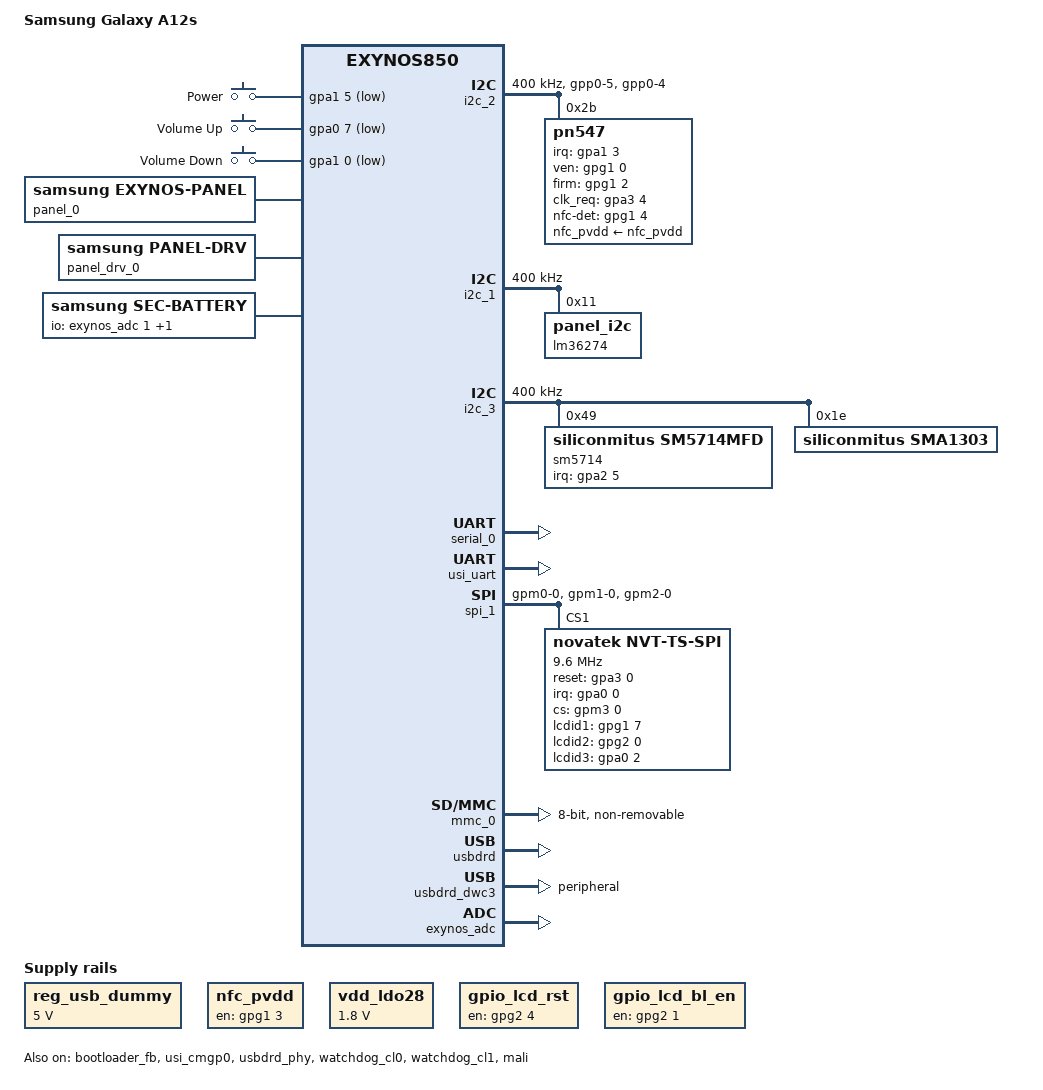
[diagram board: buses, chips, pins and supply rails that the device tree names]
// SPDX-License-Identifier: GPL-2.0
/*
 * Samsung Galaxy A12s (SM-A127F), Exynos 850 / 3830
 *
 * Board-specific PMIC, camera, modem, and unported peripheral nodes must come
 * from the stock A12s DTBO only after each compatible binding is confirmed
 * for this 6.12 tree.
 */

/dts-v1/;

#include "exynos850.dtsi"
#include <dt-bindings/gpio/gpio.h>
#include <dt-bindings/input/input.h>
#include "exynos-pinctrl.h"

/ {
	model = "Samsung Galaxy A12s";
	compatible = "samsung,a127f", "samsung,a12s", "samsung,exynos850";

	aliases {
		mmc0 = &mmc_0;
		serial0 = &serial_0;
		decon = &decon_0;
		dsim = &dsim_0;
		dpp0 = &dpp_0;
		dpp1 = &dpp_1;
		dpp2 = &dpp_2;
		dpp3 = &dpp_3;
		panel0 = &panel_0;
		panel_drv0 = &panel_drv_0;
	};

	chosen {
		stdout-path = &serial_0;
		bootargs = "console=ttyS0,115200n8 rootwait lcdtype=0xaa240";
	};

	reg_usb_dummy: regulator-usb-dummy {
		compatible = "regulator-fixed";
		regulator-name = "usb_dummy";
		regulator-min-microvolt = <5000000>;
		regulator-max-microvolt = <5000000>;
	};

	nfc_pvdd: regulator-nfc-pvdd {
		compatible = "regulator-fixed";
		regulator-name = "nfc_pvdd";
		gpio = <&gpg1 3 GPIO_ACTIVE_HIGH>;
		enable-active-high;
		pinctrl-names = "default";
		pinctrl-0 = <&nfc_pvdd_pins>;
	};

	/* S2MPU12 LDO28 stays enabled by the bootloader at 1.8 V. */
	vdd_ldo28: regulator-ldo28 {
		compatible = "regulator-fixed";
		regulator-name = "vdd_ldo28";
		regulator-min-microvolt = <1800000>;
		regulator-max-microvolt = <1800000>;
		regulator-boot-on;
		regulator-always-on;
	};

	lcd_fixed_regulator {
		compatible = "simple-bus";

		gpio_lcd_rst: lcd-rst {
			compatible = "regulator-fixed";
			regulator-name = "gpio_lcd_rst";
			gpio = <&gpg2 4 GPIO_ACTIVE_HIGH>;
			enable-active-high;
			regulator-boot-on;
		};

		gpio_lcd_bl_en: lcd-bl-en {
			compatible = "regulator-fixed";
			regulator-name = "gpio_lcd_bl_en";
			gpio = <&gpg2 1 GPIO_ACTIVE_HIGH>;
			enable-active-high;
			regulator-boot-on;
		};
	};

	/* Two 2 GiB ranges from the Android 13 S5E3830 device tree.
	 * The secure/bootloader reserved regions are not modeled here yet.
	 */
	memory@80000000 {
		device_type = "memory";
		reg = <0x0 0x80000000 0x80000000>,
		      <0x8 0x80000000 0x80000000>;
	};

	mali: mali@11500000 {
		compatible = "arm,mali-bifrost", "arm,mali";
		reg = <0x0 0x11500000 0x5000>;
		interrupts = <GIC_SPI 126 IRQ_TYPE_LEVEL_HIGH>,
			     <GIC_SPI 127 IRQ_TYPE_LEVEL_HIGH>,
			     <GIC_SPI 125 IRQ_TYPE_LEVEL_HIGH>;
		interrupt-names = "JOB", "MMU", "GPU";
		governor = "interactive";
		gpu_dvfs_table_size = <0x06 0x07>;
		gpu_dvfs_table = <0xf4628 0x5f 0x64 0x01 0x177bb8 0x1e8c50 0x00
				  0xd32e8 0x50 0x5a 0x01 0x177bb8 0x1e8c50 0x00
				  0xb8150 0x50 0x5a 0x01 0x14a140 0x163780 0x00
				  0x91ff0 0x46 0x5a 0x01 0xf78f0 0x101148 0x00
				  0x69b68 0x3c 0x50 0x01 0xce4c8 0xc4c70 0x00
				  0x5c0a8 0x00 0x46 0x01 0xa50a0 0x9eb10 0x00>;
		gpu_max_clock = <0xf4628>;
		gpu_max_clock_limit = <0xf4628>;
		gpu_min_clock = <0x5c0a8>;
		gpu_dvfs_start_clock = <0x5c0a8>;
		gpu_dvfs_bl_config_clock = <0x5c0a8>;
		gpu_dvfs_time_interval = <0x05>;
		gpu_dvfs_polling_time = <0x1e>;
		gpu_tmu_control = <0x01>;
		gpu_bts_support = <0x01>;
		status = "okay";
	};

	gpio-keys {
		compatible = "gpio-keys";
		autorepeat;

		key-power {
			label = "Power";
			gpios = <&gpa1 5 GPIO_ACTIVE_LOW>;
			linux,code = <KEY_POWER>;
			wakeup-source;
		};

		key-volume-up {
			label = "Volume Up";
			gpios = <&gpa0 7 GPIO_ACTIVE_LOW>;
			linux,code = <KEY_VOLUMEUP>;
		};

		key-volume-down {
			label = "Volume Down";
			gpios = <&gpa1 0 GPIO_ACTIVE_LOW>;
			linux,code = <KEY_VOLUMEDOWN>;
		};
	};

	panel_0: panel_0 {
		compatible = "samsung,exynos-panel";
		lcd_info = <&nt36525b_ctc>;
	};

	panel_drv_0: panel_drv@0 {
		compatible = "samsung,panel-drv";
		status = "okay";
		ddi-info = <&nt36525b_ctc>;
		#address-cells = <2>;
		#size-cells = <1>;
		ranges;
		pinctrl-names = "default";
		pinctrl-0 = <&disp_rst_ctrl &disp_blen_ctrl &disp_lcd_id>;

		regulators {
			gpio_lcd_bl_en {
				regulator = <&gpio_lcd_bl_en>;
			};
		};

		panel-lookup {
			panel-id-addr = <0xda 0xdb 0xdc>;
			panel-id-len = <0x01 0x01 0x01>;
			panel-name = "nt36525b_ctc_a12s_default";
			panel-ddi-info = <&nt36525b_ctc>;
			panel-lut = <0xaa240 0xffffff 0x00 0x00>;
		};
	};

	decon_board_nt36525b: decon_board_nt36525b {
		panel_boot_enable {
			type = "regulator,enable", "vdd_ldo28", "regulator,enable", "gpio_lcd_rst", "regulator,enable", "gpio_lcd_bl_en";
		};

		panel_power_enable {
			type = "regulator,enable", "vdd_ldo28", "delay,usleep", "1000", "regulator,enable", "gpio_lcd_bl_en", "delay,usleep", "1000";
		};

		panel_power_disable {
			type = "delay,usleep", "3000", "regulator,disable", "gpio_lcd_bl_en", "delay,usleep", "5000", "regulator,disable", "vdd_ldo28", "delay,msleep", "30";
		};

		panel_reset {
			type = "delay,usleep", "10000", "regulator,enable", "gpio_lcd_rst", "delay,usleep", "1000", "regulator,disable", "gpio_lcd_rst", "delay,usleep", "3500", "regulator,enable", "gpio_lcd_rst", "delay,usleep", "10000";
		};

		panel_reset_disable {
			type = "delay,msleep", "60", "regulator,disable", "gpio_lcd_rst", "delay,usleep", "5000";
		};

		panel_not_connected {
			type = "regulator,disable", "vdd_ldo28", "regulator,disable", "gpio_lcd_rst", "regulator,disable", "gpio_lcd_bl_en";
		};
	};

	nt36525b_ctc: nt36525b_ctc {
		id = <0xaa240>;
		decon_board = <&decon_board_nt36525b>;
		mode = <0x00>;
		resolution = <0x2d0 0x640>;
		size = <0x44 0x97>;
		timing,refresh = <0x3c>;
		timing,h-porch = <0x6e 0x46 0x1c>;
		timing,v-porch = <0xfc 0x08 0x02>;
		timing,dsi-hs-clk = <0x33e>;
		timing,pmsk = <0x02 0xff 0x02 0x6276 0x00 0x00 0x00 0x00
			       0x00 0x00 0x00 0x00 0x00 0x00>;
		timing,dsi-escape-clk = <0x14>;
		type_of_ddi = <0x00>;
		dsc_en = <0x00>;
		dsc_cnt = <0x00>;
		dsc_slice_num = <0x00>;
		dsc_slice_h = <0x00>;
		data_lane = <0x03>;
		mres_en = <0x00>;
		active_fps = <0x3c>;
		default_mode = <0x00>;
		display_mode = <0x2d0 0x640 0x3c 0x00 0x00 0x00 0x00 0x08>;
		hdr_num = <0x00>;
		hdr_type = <0x02 0x00 0x00 0x00>;
		hdr_max_luma = <0x5265c0>;
		hdr_max_avg_luma = <0x124f80>;
		hdr_min_luma = <0x05>;
	};

};

&bootloader_fb {
	reg = <0x00 0xfa000000 0xd00000>;
	status = "okay";
};

&pinctrl_alive {
	decon_te_on: decon-te-on {
		samsung,pins = "gpa4-1";
		samsung,pin-function = <EXYNOS_PIN_FUNC_EINT>;
	};

	decon_te_off: decon-te-off {
		samsung,pins = "gpa4-1";
		samsung,pin-function = <EXYNOS_PIN_FUNC_INPUT>;
	};

	tsp_irq_on: tsp-irq-on {
		samsung,pins = "gpa0-0";
		samsung,pin-function = <EXYNOS_PIN_FUNC_EINT>;
		samsung,pin-pud = <EXYNOS_PIN_PULL_NONE>;
		samsung,pin-drv = <EXYNOS5420_PIN_DRV_LV1>;
	};

	tsp_irq_off: tsp-irq-off {
		samsung,pins = "gpa0-0";
		samsung,pin-function = <EXYNOS_PIN_FUNC_INPUT>;
		samsung,pin-pud = <EXYNOS_PIN_PULL_DOWN>;
	};

	tsp_rst_on: tsp-rst-on {
		samsung,pins = "gpa3-0";
		samsung,pin-function = <EXYNOS_PIN_FUNC_OUTPUT>;
		samsung,pin-val = <1>;
		samsung,pin-pud = <EXYNOS_PIN_PULL_NONE>;
	};

	tsp_rst_off: tsp-rst-off {
		samsung,pins = "gpa3-0";
		samsung,pin-function = <EXYNOS_PIN_FUNC_INPUT>;
		samsung,pin-pud = <EXYNOS_PIN_PULL_DOWN>;
	};

	tsp_id3_on: tsp-id3-on {
		samsung,pins = "gpa0-2";
		samsung,pin-function = <EXYNOS_PIN_FUNC_INPUT>;
		samsung,pin-pud = <EXYNOS_PIN_PULL_NONE>;
	};

	tsp_id3_off: tsp-id3-off {
		samsung,pins = "gpa0-2";
		samsung,pin-function = <EXYNOS_PIN_FUNC_INPUT>;
		samsung,pin-pud = <EXYNOS_PIN_PULL_DOWN>;
	};

	nfc_xclkout: nfc-xclkout {
		samsung,pins = "gpq0-2";
		samsung,pin-function = <EXYNOS_PIN_FUNC_2>;
		samsung,pin-pud = <EXYNOS_PIN_PULL_NONE>;
	};

	nfc_xclkout_nc: nfc-xclkout-nc {
		samsung,pins = "gpq0-2";
		samsung,pin-function = <EXYNOS_PIN_FUNC_INPUT>;
		samsung,pin-pud = <EXYNOS_PIN_PULL_DOWN>;
	};

	nfc_clk_req: nfc-clk-req {
		samsung,pins = "gpa3-4";
		samsung,pin-function = <EXYNOS_PIN_FUNC_2>;
		samsung,pin-pud = <EXYNOS_PIN_PULL_DOWN>;
	};

	nfc_clk_req_nc: nfc-clk-req-nc {
		samsung,pins = "gpa3-4";
		samsung,pin-function = <EXYNOS_PIN_FUNC_INPUT>;
		samsung,pin-pud = <EXYNOS_PIN_PULL_DOWN>;
	};
};

&pinctrl_cmgp {
	spi1_bus_pins: spi1-bus-pins {
		samsung,pins = "gpm0-0", "gpm1-0", "gpm2-0";
		samsung,pin-function = <EXYNOS_PIN_FUNC_2>;
		samsung,pin-pud = <EXYNOS_PIN_PULL_NONE>;
		samsung,pin-drv = <EXYNOS5420_PIN_DRV_LV1>;
	};

	spi1_cs_pins: spi1-cs-pins {
		samsung,pins = "gpm3-0";
		samsung,pin-function = <EXYNOS_PIN_FUNC_OUTPUT>;
		samsung,pin-val = <1>;
		samsung,pin-pud = <EXYNOS_PIN_PULL_NONE>;
		samsung,pin-drv = <EXYNOS5420_PIN_DRV_LV1>;
	};
};

&pinctrl_peri {
	disp_rst_ctrl: disp-rst-ctrl {
		samsung,pins = "gpg2-4";
		samsung,pin-con-pdn = <EXYNOS_PIN_PDN_PREV>;
		samsung,pin-pud-pdn = <EXYNOS_PIN_PULL_NONE>;
	};

	disp_blen_ctrl: disp-blen-ctrl {
		samsung,pins = "gpg2-1";
		samsung,pin-con-pdn = <EXYNOS_PIN_PDN_PREV>;
		samsung,pin-pud-pdn = <EXYNOS_PIN_PULL_NONE>;
	};

	disp_lcd_id: disp-lcd-id {
		samsung,pins = "gpg1-7", "gpg2-0";
		samsung,pin-con-pdn = <EXYNOS_PIN_PDN_INPUT>;
		samsung,pin-pud-pdn = <EXYNOS_PIN_PULL_NONE>;
	};

	tsp_id_on: tsp-id-on {
		samsung,pins = "gpg1-7", "gpg2-0";
		samsung,pin-function = <EXYNOS_PIN_FUNC_INPUT>;
		samsung,pin-pud = <EXYNOS_PIN_PULL_NONE>;
	};

	tsp_id_off: tsp-id-off {
		samsung,pins = "gpg1-7", "gpg2-0";
		samsung,pin-function = <EXYNOS_PIN_FUNC_INPUT>;
		samsung,pin-pud = <EXYNOS_PIN_PULL_DOWN>;
	};

	nfc_i2c_pins: nfc-i2c-pins {
		samsung,pins = "gpp0-5", "gpp0-4";
		samsung,pin-function = <EXYNOS_PIN_FUNC_2>;
		samsung,pin-pud = <EXYNOS_PIN_PULL_NONE>;
		samsung,pin-drv = <EXYNOS5420_PIN_DRV_LV1>;
		samsung,pin-con-pdn = <EXYNOS_PIN_PDN_PREV>;
	};

	nfc_pvdd_pins: nfc-pvdd-pins {
		samsung,pins = "gpg1-3";
		samsung,pin-function = <EXYNOS_PIN_FUNC_OUTPUT>;
		samsung,pin-pud = <EXYNOS_PIN_PULL_NONE>;
		samsung,pin-con-pdn = <EXYNOS_PIN_PDN_PREV>;
		samsung,pin-pud-pdn = <EXYNOS_PIN_PULL_NONE>;
	};

	nfc_en: nfc-en {
		samsung,pins = "gpg1-0";
		samsung,pin-function = <EXYNOS_PIN_FUNC_OUTPUT>;
		samsung,pin-pud = <EXYNOS_PIN_PULL_NONE>;
		samsung,pin-drv = <EXYNOS5420_PIN_DRV_LV1>;
		samsung,pin-con-pdn = <EXYNOS_PIN_PDN_PREV>;
		samsung,pin-pud-pdn = <EXYNOS_PIN_PULL_NONE>;
	};

	nfc_en_nc: nfc-en-nc {
		samsung,pins = "gpg1-0";
		samsung,pin-function = <EXYNOS_PIN_FUNC_INPUT>;
		samsung,pin-pud = <EXYNOS_PIN_PULL_DOWN>;
		samsung,pin-con-pdn = <EXYNOS_PIN_PDN_INPUT>;
		samsung,pin-pud-pdn = <EXYNOS_PIN_PULL_DOWN>;
	};

	nfc_firm: nfc-firm {
		samsung,pins = "gpg1-2";
		samsung,pin-function = <EXYNOS_PIN_FUNC_OUTPUT>;
		samsung,pin-pud = <EXYNOS_PIN_PULL_NONE>;
		samsung,pin-val = <0>;
		samsung,pin-con-pdn = <EXYNOS_PIN_PDN_PREV>;
		samsung,pin-pud-pdn = <EXYNOS_PIN_PULL_NONE>;
	};

	nfc_firm_nc: nfc-firm-nc {
		samsung,pins = "gpg1-2";
		samsung,pin-function = <EXYNOS_PIN_FUNC_INPUT>;
		samsung,pin-pud = <EXYNOS_PIN_PULL_DOWN>;
		samsung,pin-con-pdn = <EXYNOS_PIN_PDN_INPUT>;
		samsung,pin-pud-pdn = <EXYNOS_PIN_PULL_DOWN>;
	};

	nfc_check: nfc-check {
		samsung,pins = "gpg1-4";
		samsung,pin-function = <EXYNOS_PIN_FUNC_INPUT>;
		samsung,pin-pud = <EXYNOS_PIN_PULL_NONE>;
		samsung,pin-drv = <EXYNOS5420_PIN_DRV_LV2>;
		samsung,pin-con-pdn = <EXYNOS_PIN_PDN_INPUT>;
		samsung,pin-pud-pdn = <EXYNOS_PIN_PULL_NONE>;
	};

	sm5714_irq_pins: sm5714-irq-pins {
		samsung,pins = "gpa2-5";
		samsung,pin-function = <EXYNOS_PIN_FUNC_INPUT>;
		samsung,pin-pud = <EXYNOS_PIN_PULL_NONE>;
		samsung,pin-con-pdn = <EXYNOS_PIN_PDN_INPUT>;
		samsung,pin-pud-pdn = <EXYNOS_PIN_PULL_NONE>;
	};
};

&oscclk {
	clock-frequency = <26000000>;
};

&i2c_2 {
	status = "okay";
	clock-frequency = <400000>;
	pinctrl-names = "default";
	pinctrl-0 = <&nfc_i2c_pins>;

	pn547@2b {
		compatible = "pn547";
		reg = <0x2b>;
		pn547,irq-gpio = <&gpa1 3 GPIO_ACTIVE_HIGH>;
		pn547,ven-gpio = <&gpg1 0 GPIO_ACTIVE_HIGH>;
		pn547,firm-gpio = <&gpg1 2 GPIO_ACTIVE_HIGH>;
		pn547,clk_req-gpio = <&gpa3 4 GPIO_ACTIVE_HIGH>;
		pn547,ap_vendor = "slsi";
		pn547,nfc-det-gpio = <&gpg1 4 GPIO_ACTIVE_HIGH>;
		pn547,ldo_control;
		nfc_pvdd-supply = <&nfc_pvdd>;
		pn547,irq_all_trigger;
		clocks = <&cmu_top CLK_OSC_NFC>;
		clock-names = "oscclk_nfc";
		pinctrl-names = "default", "nfc_nc";
		pinctrl-0 = <&nfc_en &nfc_firm &nfc_xclkout &nfc_clk_req &nfc_check>;
		pinctrl-1 = <&nfc_en_nc &nfc_firm_nc &nfc_xclkout_nc &nfc_clk_req_nc>;
	};
};

&i2c_1 {
	status = "okay";
	clock-frequency = <400000>;

	lm36274@11 {
		compatible = "panel_i2c";
		reg = <0x11>;
	};
};

&i2c_3 {
	status = "okay";
	clock-frequency = <400000>;
	pinctrl-names = "default";
	pinctrl-0 = <&i2c3_pins>;

	sm5714@49 {
		compatible = "siliconmitus,sm5714mfd";
		reg = <0x49>;
		pinctrl-names = "default";
		pinctrl-0 = <&sm5714_irq_pins>;
		sm5714,irq-gpio = <&gpa2 5 GPIO_ACTIVE_HIGH>;
		sm5714,wakeup;

		sm5714-fuelgauge {
			status = "okay";
			fuelgauge,fuel_alert_soc = <0x01>;
			fuelgauge,capacity_max = <0x3e8>;
			fuelgauge,capacity_max_margin = <0x12c>;
			fuelgauge,capacity_min = <0x00>;
			fuelgauge,capacity_calculation_type = <0x1f>;
			fuelgauge,using_temp_compensation;
			fuelgauge,low_temp_limit = <0x64>;
			fuelgauge,using_hw_vempty;
			fuelgauge,sw_v_empty_voltage = <0xc80>;
			fuelgauge,sw_v_empty_voltage_cisd = <0xc1c>;
			fuelgauge,sw_v_empty_recover_voltage = <0xd98>;
			fuelgauge,capacity = <0x1388>;

			battery_params {
				battery,id = <0x00>;
				battery0,battery_type = <0x1130 0x2406>;
				battery0,battery_table0 = <0x1400 0x1b49 0x1c6e 0x1d41 0x1d71 0x1d80 0x1d94 0x1dda 0x1e17 0x1e3b 0x1e53 0x1e71 0x1e97 0x1ee7 0x1f14 0x1f58 0x1fb5 0x1fec 0x2025 0x2095 0x20e3 0x2122 0x2226 0x2400>;
				battery0,battery_table1 = <0x00 0x99 0x24c 0x480 0x599 0x74c 0xccc 0x1266 0x1ab3 0x204c 0x25cc 0x2b66 0x30e6 0x3933 0x3c00 0x3ecc 0x4466 0x49e6 0x4cb3 0x4f80 0x5500 0x57cc 0x6400 0x6419>;
				battery0,battery_table2 = <0x4b4b 0x4444 0x4040 0x3e3e 0x3c3c 0x3b3b 0x3838 0x3737 0x3535 0x3434 0x3434 0x3333 0x3333 0x3333 0x3333 0x3232>;
				battery0,rs_value = <0x48 0x48 0x3800 0x10a 0x599 0x599 0x50>;
				battery0,v_alarm = <0xc1c 0xc8>;
				battery0,topoff = <0x1f4>;
				battery0,i_cal = <0x01 0x00 0x800 0x800 0x00 0x00 0x7e8 0x818>;
				battery0,v_cal = <0x01 0x00 0x00 0x01 0x00 0x00 0x00>;
				battery0,temp_std = <0x19>;
				battery0,tem_poff = <0xd48 0x32 0xcb2 0x32>;
				battery0,aux_ctrl = <0x322 0x5800>;
				battery0,data_ver = <0x03>;
				battery0,v_max_table = <0x2226 0x2203 0x21e0 0x21bc 0x2165>;
				battery0,q_max_table = <0x2406 0x235f 0x22b9 0x2212 0x2071>;
			};
		};

		sm5714-charger {
			status = "okay";
			compatible = "samsung,sm5714-charger";
			sm5714,chg_lxslope = <0x02>;
		};
	};

	sma1303@1e {
		compatible = "siliconmitus,sma1303";
		reg = <0x1e>;
		#sound-dai-cells = <1>;
		status = "okay";
	};
};

&dsim_0 {
	memory-region = <&bootloader_fb>;
};

&serial_0 {
	status = "okay";
};

&usi_uart {
	samsung,clkreq-on;
	status = "okay";
};

&usi_cmgp0 {
	samsung,mode = <USI_V2_SPI>;
	status = "okay";
};

&spi_1 {
	status = "okay";
	num-cs = <3>;
	no-cs-readback;
	pinctrl-names = "default";
	pinctrl-0 = <&spi1_bus_pins>;

	/* Only the nt36525b CTC panel selected by lcdtype=0xaa240 is active. */
	ilitek@0 {
		compatible = "iliteck,ili9882x-spi";
		status = "disabled";
		reg = <0>;
		spi-max-frequency = <5000000>;
		pinctrl-names = "default", "on_state", "off_state";
		pinctrl-0 = <&tsp_id_on &tsp_id3_on &tsp_irq_on &spi1_cs_pins &tsp_rst_on>;
		pinctrl-1 = <&tsp_id_on &tsp_id3_on &tsp_irq_on &spi1_cs_pins &tsp_rst_on>;
		pinctrl-2 = <&tsp_id_off &tsp_id3_off &tsp_irq_off &tsp_rst_off>;
		iliteck,irq-gpio = <&gpa0 0 0x2008>;
		iliteck,reset-gpio = <&gpa3 0 0>;
		iliteck,cs-gpio = <&gpm3 0 0>;
		iliteck,lcdid1-gpio = <&gpg1 7 0>;
		iliteck,lcdid2-gpio = <&gpg2 0 0>;
		iliteck,lcdid3-gpio = <&gpa0 2 0>;
		iliteck,lcd_rst = "gpio_lcd_rst";
		iliteck,lcd_bl_en = "gpio_lcd_bl_en";
		iliteck,lcd_vddi = "vdd_ldo28";
		iliteck,irq-on-state = <0>;
		iliteck,spi-mode = <0>;
		iliteck,byte-delay-us = <0>;
		iliteck,block-delay-us = <0>;
		iliteck,ubl-max-freq = <5000000>;
		iliteck,ubl-byte-delay-us = <20>;
		iliteck,area-size = <0x30 0x51 0x1e>;
		iliteck,enable_settings_aot;
		iliteck,enable_sysinput_enabled;
		iliteck,support_ear_detect_mode;
		iliteck,prox_lp_scan_enabled;
		iliteck,lcd_rst_delay = <2>;
		iliteck,lcdid = <0x03 0x07>;
		iliteck,lcdtype = <0x00 0x00 0x00 0xba7254
				   0x00 0x00 0x00 0x3a6250>;
		iliteck,fw_name = "", "", "",
			"tsp_ilitek/ili7807s_a12s.hex", "", "", "",
			"tsp_ilitek/ili9882_a12s.hex";
	};

	novatek@1 {
		compatible = "novatek,NVT-ts-spi";
		reg = <1>;
		spi-max-frequency = <9600000>;
		pinctrl-names = "default", "on_state", "off_state";
		pinctrl-0 = <&tsp_id_on &tsp_id3_on &tsp_irq_on &spi1_cs_pins &tsp_rst_on>;
		pinctrl-1 = <&tsp_id_on &tsp_id3_on &tsp_irq_on &spi1_cs_pins &tsp_rst_on>;
		pinctrl-2 = <&tsp_id_off &tsp_id3_off &tsp_irq_off &tsp_rst_off>;
		novatek,reset-gpio = <&gpa3 0 0>;
		novatek,irq-gpio = <&gpa0 0 0x2002>;
		novatek,cs-gpio = <&gpm3 0 0>;
		novatek,lcdid1-gpio = <&gpg1 7 0>;
		novatek,lcdid2-gpio = <&gpg2 0 0>;
		novatek,lcdid3-gpio = <&gpa0 2 0>;
		novatek,resolution = <0x2d0 0x640>;
		novatek,enable_settings_aot;
		novatek,support_ear_detect_mode;
		novatek,prox_lp_scan_enabled;
		novatek,enable_sysinput_enabled;
		novatek,lcdid = <0x01 0x02 0x06>;
		novatek,lcdtype = <0x00 0xaa240 0xa1240
				   0x00 0x00 0x00 0xaf240>;
		novatek,fw_name = "",
			"tsp_novatek/nt36525_a12s_csot.bin",
			"tsp_novatek/nt36525_a12s_dtc.bin",
			"", "", "",
			"tsp_novatek/nt36525_a12s_sharp.bin";
		novatek,fw_name_mp = "",
			"tsp_novatek/nt36525_a12s_mp_csot.bin",
			"tsp_novatek/nt36525_a12s_mp_dtc.bin",
			"", "", "",
			"tsp_novatek/nt36525_a12s_mp_sharp.bin";
		novatek,regulator_lcd_vdd = "vdd_ldo28";
		novatek,regulator_lcd_reset = "gpio_lcd_rst";
		novatek,regulator_lcd_bl = "gpio_lcd_bl_en";
		novatek,swrst-n8-addr = <0x3f0fe>;
		novatek,spi-rd-fast-addr = <0x3f310>;
		novatek,mp-support-dt;

		novatek-mp-criteria-722E@0 {
			compatible = "novatek-mp-criteria-722E";
			open_test_spec = <0xfffffe01 0x1400>;
			short_test_spec = <0x2710 0x36b8>;
			diff_test_frame = <0x32>;
			fdm_x_num = <0x02>;
		};

		novatek-mp-criteria-7232@0 {
			compatible = "novatek-mp-criteria-7232";
			open_test_spec = <0xfffffe01 0x1400>;
			short_test_spec = <0x2710 0x36b8>;
			diff_test_frame = <0x32>;
			fdm_x_num = <0x02>;
		};

		novatek-mp-criteria-7231@0 {
			compatible = "novatek-mp-criteria-7231";
			open_test_spec = <0xfffffe01 0x1400>;
			short_test_spec = <0x2710 0x36b8>;
			diff_test_frame = <0x32>;
			fdm_x_num = <0x02>;
		};
	};

	synaptics@2 {
		compatible = "synaptics,tcm-spi";
		status = "disabled";
		reg = <2>;
		spi-max-frequency = <7000000>;
		pinctrl-names = "default", "on_state", "off_state";
		pinctrl-0 = <&tsp_id_on &tsp_id3_on &tsp_irq_on &spi1_cs_pins &tsp_rst_on>;
		pinctrl-1 = <&tsp_id_on &tsp_id3_on &tsp_irq_on &spi1_cs_pins &tsp_rst_on>;
		pinctrl-2 = <&tsp_id_off &tsp_id3_off &tsp_irq_off &tsp_rst_off>;
		synaptics,irq-gpio = <&gpa0 0 0x2008>;
		synaptics,irq-on-state = <0>;
		synaptics,cs-gpio = <&gpm3 0 0>;
		synaptics,spi-mode = <3>;
		synaptics,byte-delay-us = <0>;
		synaptics,block-delay-us = <0>;
		synaptics,ubl-max-freq = <7000000>;
		synaptics,ubl-byte-delay-us = <20>;
		synaptics,area-size = <0x30 0x51 0x1e>;
		synaptics,regulator_lcd_vdd = "vdd_ldo28";
		synaptics,regulator_lcd_bl = "gpio_lcd_bl_en";
		synaptics,regulator_lcd_reset = "gpio_lcd_rst";
		synaptics,lcdid1-gpio = <&gpg1 7 0>;
		synaptics,lcdid2-gpio = <&gpg2 0 0>;
		synaptics,lcdid3-gpio = <&gpa0 2 0>;
		synaptics,enable_settings_aot;
		synaptics,support_cs_gpio_control;
		synaptics,support_ear_detect_mode;
		synaptics,prox_lp_scan_enabled;
		synaptics,enable_sysinput_enabled;
		synaptics,lcdid = <0x00 0x04 0x05>;
		synaptics,lcdtype = <0x7a6220 0x00 0x00
				    0x00 0x3a6220 0xba6220>;
		synaptics,fw_name = "tsp_synaptics/td4375_a12s_boe.bin",
			"", "", "",
			"tsp_synaptics/td4150_a12s_boe.bin",
			"tsp_synaptics/td4160_a12s_boe.bin";
	};
};

&mmc_0 {
	status = "okay";
	mmc-hs200-1_8v;
	mmc-hs400-1_8v;
	cap-mmc-highspeed;
	non-removable;
	mmc-hs400-enhanced-strobe;
	bus-width = <8>;
};

&usbdrd {
	status = "okay";
	vdd10-supply = <&reg_usb_dummy>;
	vdd33-supply = <&reg_usb_dummy>;
};

&usbdrd_dwc3 {
	dr_mode = "peripheral";
};

&usbdrd_phy {
	status = "okay";
};

&watchdog_cl0 {
	status = "okay";
};

&watchdog_cl1 {
	status = "okay";
};

&exynos_adc {
	status = "okay";
};

/ {
battery {
	battery,fuelgauge_name = "sm5714-fuelgauge";
	battery,fgsrc_switch_name = "sm5714-fuelgauge";
	status = "okay";
	compatible = "samsung,sec-battery";
	battery,vendor = "Battery";
	battery,charger_name = "sm5714-charger";
	battery,technology = <0x02>;
	battery,batt_data_version = <0x01>;
	battery,temp_adc_type = <0x01>;
	battery,adc_check_count = <0x05>;
	battery,temp_check_type = <0x02>;
	battery,usb_temp_check_type = <0x00>;
	battery,chg_temp_check_type = <0x02>;
	battery,wpc_temp_check_type = <0x00>;
	battery,thermal_source = <0x02>;
	battery,usb_thermal_source = <0x05>;
	battery,chg_thermal_source = <0x02>;
	battery,wpc_thermal_source = <0x05>;
	battery,polling_time = <0x0a 0x1e 0x1e 0x1e 0xe10>;
	battery,cable_check_type = <0x04>;
	battery,cable_source_type = <0x01>;
	battery,polling_type = <0x01>;
	battery,monitor_initial_count = <0x00>;
	battery,battery_check_type = <0x00>;
	battery,ovp_uvlo_check_type = <0x03>;
	battery,temp_check_count = <0x01>;
	battery,temp_highlimit_threshold_event = <0x320>;
	battery,temp_highlimit_recovery_event = <0x30c>;
	battery,temp_high_threshold_event = <0x1f4>;
	battery,temp_high_recovery_event = <0x1e0>;
	battery,temp_low_threshold_event = <0x00>;
	battery,temp_low_recovery_event = <0x14>;
	battery,temp_highlimit_threshold_normal = <0x320>;
	battery,temp_highlimit_recovery_normal = <0x30c>;
	battery,temp_high_threshold_normal = <0x1f4>;
	battery,temp_high_recovery_normal = <0x1e0>;
	battery,temp_low_threshold_normal = <0x00>;
	battery,temp_low_recovery_normal = <0x14>;
	battery,temp_highlimit_threshold_lpm = <0x320>;
	battery,temp_highlimit_recovery_lpm = <0x30c>;
	battery,temp_high_threshold_lpm = <0x1f4>;
	battery,temp_high_recovery_lpm = <0x1e0>;
	battery,temp_low_threshold_lpm = <0x00>;
	battery,temp_low_recovery_lpm = <0x14>;
	battery,wpc_high_threshold_normal = <0x1c2>;
	battery,wpc_high_recovery_normal = <0x1ae>;
	battery,wpc_low_threshold_normal = <0x00>;
	battery,wpc_low_recovery_normal = <0x14>;
	battery,full_check_type = <0x02>;
	battery,full_check_type_2nd = <0x02>;
	battery,full_check_count = <0x01>;
	battery,chg_gpio_full_check = <0x00>;
	battery,chg_polarity_full_check = <0x01>;
	battery,chg_high_temp = <0x226>;
	battery,chg_high_temp_recovery = <0x1fe>;
	battery,chg_input_limit_current = <0x3e8>;
	battery,chg_charging_limit_current = <0x578>;
	battery,wpc_temp_control_source = <0x01>;
	battery,wpc_high_temp = <0x17c>;
	battery,wpc_high_temp_recovery = <0x168>;
	battery,wpc_input_limit_current = <0x258>;
	battery,wpc_charging_limit_current = <0x3e8>;
	battery,wpc_temp_lcd_on_control_source = <0x01>;
	battery,wpc_lcd_on_high_temp = <0x17c>;
	battery,wpc_lcd_on_high_temp_rec = <0x168>;
	battery,wpc_lcd_on_input_limit_current = <0x1c2>;
	battery,wpc_store_high_temp = <0x168>;
	battery,wpc_store_high_temp_recovery = <0x154>;
	battery,wpc_store_charging_limit_current = <0x190>;
	battery,wpc_store_lcd_on_high_temp = <0x168>;
	battery,wpc_store_lcd_on_high_temp_rec = <0x12c>;
	battery,wpc_store_lcd_on_charging_limit_current = <0x190>;
	battery,sleep_mode_limit_current = <0x1f4>;
	battery,wc_full_input_limit_current = <0x64>;
	battery,mix_high_temp = <0x1a4>;
	battery,mix_high_chg_temp = <0x1f4>;
	battery,mix_high_temp_recovery = <0x186>;
	battery,full_condition_type = <0x09>;
	battery,full_condition_soc = <0x5d>;
	battery,full_condition_vcell = <0x109a>;
	battery,recharge_check_count = <0x01>;
	battery,recharge_condition_type = <0x04>;
	battery,recharge_condition_soc = <0x62>;
	battery,recharge_condition_vcell = <0x10b8>;
	battery,charging_total_time = <0x3840>;
	battery,hv_charging_total_time = <0x2a30>;
	battery,normal_charging_total_time = <0x4650>;
	battery,usb_charging_total_time = <0x8ca0>;
	battery,recharging_total_time = <0x1518>;
	battery,charging_reset_time = <0x00>;
	battery,chg_float_voltage = <0x10fe>;
	battery,pre_afc_work_delay = <0x7d0>;
	battery,pre_wc_afc_work_delay = <0xfa0>;
	battery,pre_afc_input_current = <0x1f4>;
	battery,pre_wc_afc_input_current = <0x1f4>;
	battery,prepare_ta_delay = <0x00>;
	battery,swelling_high_temp_block = <0x19a>;
	battery,swelling_high_temp_recov = <0x186>;
	battery,swelling_low_temp_block_1st = <0x96>;
	battery,swelling_low_temp_recov_1st = <0xaa>;
	battery,swelling_low_temp_block_2nd = <0x32>;
	battery,swelling_low_temp_recov_2nd = <0x46>;
	battery,swelling_drop_float_voltage = <0x1036>;
	battery,swelling_high_rechg_voltage = <0xfa0>;
	battery,swelling_low_rechg_voltage = <0x1068>;
	battery,siop_input_limit_current = <0x4b0>;
	battery,siop_charging_limit_current = <0x3e8>;
	battery,siop_hv_input_limit_current = <0x2bc>;
	battery,siop_hv_input_limit_current_2nd = <0x226>;
	battery,siop_hv_charging_limit_current = <0x3e8>;
	battery,rp_current_rp1 = <0x1f4>;
	battery,rp_current_rp2 = <0x5dc>;
	battery,rp_current_rp3 = <0xbb8>;
	battery,rp_current_rdu_rp3 = <0x834>;
	battery,rp_current_abnormal_rp3 = <0x708>;
	battery,pd_charging_charge_power = <0x3a98>;
	battery,max_charging_current = <0x866>;
	battery,store_mode_charging_max = <0x46>;
	battery,store_mode_charging_min = <0x3c>;
	battery,wireless_cc_cv = <0x55>;
	battery,wireless_otg_input_current = <0x384>;
	battery,age_data = <0x00 0x10fe 0x10b8 0x109a 0x5d 0x12c 0x10ea 0x10a4 0x1086 0x5c 0x190 0x10d6 0x1090 0x1072 0x5b 0x2bc 0x10c2 0x107c 0x105e 0x5a 0x3e8 0x1090 0x104a 0x102c 0x59>;
	battery,max_input_voltage = <0x2328>;
	battery,max_input_current = <0xbb8>;
	battery,cisd_alg_index = <0x08>;
	battery,cisd_max_voltage_thr = <0x1388>;
	battery,ignore_cisd_index = <0x00 0x00>;
	battery,ignore_cisd_index_d = <0x00 0x50>;
	battery,expired_time = <0x35e8>;
	battery,recharging_expired_time = <0x1518>;
	battery,battery_full_capacity = <0x1388>;
	io-channels = <&exynos_adc 1>, <&exynos_adc 3>;
	io-channel-names = "adc-temp", "adc-chg-temp";
	battery,chip_vendor = "LSI";
	battery,temp_table_adc = <0x5a 0x6e 0x7c 0x91 0xa6 0xc9 0xed 0x114 0x152 0x1a5 0x1f5 0x262 0x2ca 0x357 0x3fb 0x4a2 0x573 0x667 0x775 0x885 0x992 0xa8d 0xb5a>;
	battery,temp_table_data = <0x384 0x352 0x320 0x2ee 0x2bc 0x28a 0x258 0x226 0x1f4 0x1c2 0x190 0x15e 0x12c 0xfa 0xc8 0x96 0x64 0x32 0x00 0xffffffce 0xffffff9c 0xffffff6a 0xffffff38>;
	battery,chg_temp_table_adc = <0x10b 0x15b 0x1b3 0x1ef 0x23f 0x2a9 0x318 0x39a 0x416 0x4c6 0x578 0x654 0x715 0x7f4 0x8c6 0x988 0xa57 0xb51 0xc17 0xcda 0xd6f 0xde4 0xe44>;
	battery,chg_temp_table_data = <0x384 0x352 0x320 0x2ee 0x2bc 0x28a 0x258 0x226 0x1f4 0x1c2 0x190 0x15e 0x12c 0xfa 0xc8 0x96 0x64 0x32 0x00 0xffffffce 0xffffff9c 0xffffff6a 0xffffff38>;
	battery,overheatlimit_threshold = <0x2bc>;
	battery,overheatlimit_recovery = <0x2a8>;
	battery,wire_warm_overheat_thresh = <0x1f4>;
	battery,wire_normal_warm_thresh = <0x1a4>;
	battery,wire_cool1_normal_thresh = <0x96>;
	battery,wire_cool2_cool1_thresh = <0x96>;
	battery,wire_cool3_cool2_thresh = <0x32>;
	battery,wire_cold_cool3_thresh = <0x00>;
	battery,wire_warm_current = <0x514>;
	battery,wire_cool1_current = <0x8fc>;
	battery,wire_cool2_current = <0x352>;
	battery,wire_cool3_current = <0x1ea>;
	battery,high_temp_topoff = <0xfa>;
	battery,low_temp_topoff = <0xfa>;
	battery,high_temp_float = <0x1036>;
	battery,low_temp_float = <0x10fe>;
	battery,max_charging_charge_power = <0x3a98>;
	battery,batt_temp_adj_gap_inc = <0x14>;
	battery,health_condition = <0x384 0x00 0x4b0 0x00 0x5dc 0x00>;
	battery,standard_curr = <0x866>;
	battery,ttf_hv_charge_current = <0x7c1>;
	battery,ttf_capacity = <0x11d5>;
	battery,cv_data = <0x8db 0x37a 0x618 0x846 0x384 0x5be 0x7d1 0x38e 0x5a0 0x703 0x398 0x53b 0x660 0x3a2 0x4d2 0x596 0x3ac 0x467 0x494 0x3b6 0x377 0x41a 0x3c0 0x31d 0x389 0x3ca 0x2a4 0x2a2 0x3d4 0x186 0x225 0x3de 0x78 0x1d7 0x3e8 0x00>;
};

cable-info {
	default_input_current = <0x708>;
	default_charging_current = <0x834>;
	full_check_current_1st = <0x1db>;
	full_check_current_2nd = <0xfa>;

	current_group_1 {
		cable_number = <0x02 0x13 0x15 0x16 0x17>;
		input_current = <0x1f4>;
		charging_current = <0x1f4>;
	};

	current_group_2 {
		cable_number = <0x19 0x1f>;
		input_current = <0x3e8>;
		charging_current = <0x3e8>;
	};

	current_group_3 {
		cable_number = <0x05 0x20>;
		input_current = <0x5dc>;
		charging_current = <0x5dc>;
	};

	current_group_4 {
		cable_number = <0x06 0x07 0x08 0x11 0x12 0x28>;
		input_current = <0x672>;
		charging_current = <0x866>;
	};

	current_group_5 {
		cable_number = <0x09>;
		input_current = <0x672>;
		charging_current = <0x866>;
	};

	current_group_6 {
		cable_number = <0x0a 0x0c 0x0f 0x1b 0x21 0x24>;
		input_current = <0x320>;
		charging_current = <0x866>;
	};

	current_group_7 {
		cable_number = <0x0d>;
		input_current = <0x2bc>;
		charging_current = <0x866>;
	};

	current_group_8 {
		cable_number = <0x18>;
		input_current = <0x3e8>;
		charging_current = <0x1c2>;
	};

	current_group_9 {
		cable_number = <0x1a>;
		input_current = <0x708>;
		charging_current = <0x708>;
	};

	current_group_10 {
		cable_number = <0x0b 0x0e 0x10 0x1c 0x23>;
		input_current = <0x28a>;
		charging_current = <0x866>;
	};

	current_group_11 {
		cable_number = <0x1d 0x25>;
		input_current = <0x1f4>;
		charging_current = <0x4b0>;
	};

	current_group_12 {
		cable_number = <0x01 0x04 0x1e>;
		input_current = <0x1db>;
		charging_current = <0x226>;
	};

	current_group_13 {
		cable_number = <0x22>;
		input_current = <0x4b0>;
		charging_current = <0x92e>;
	};
};
};
